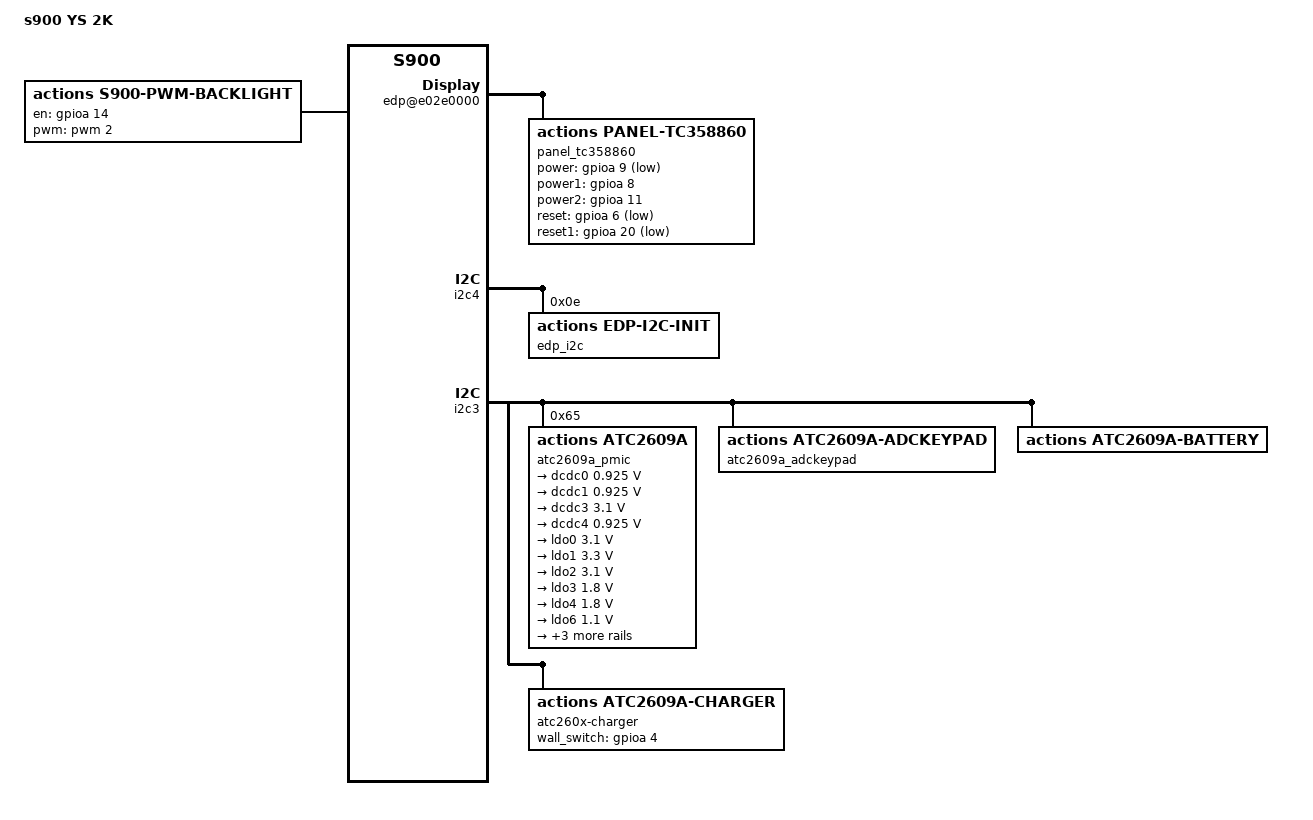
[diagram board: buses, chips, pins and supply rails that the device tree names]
/*
 * Copyright (c) 2015 Actions Semi Co., Ltd.
 *
 * SPDX-License-Identifier:	GPL-2.0+
 */

/dts-v1/;

#include "s900.dtsi"

/ {
	model = "s900 YS 2K";
	compatible = "actions,s900vr_ys_2k", "actions,s900";

	chosen {
		stdout-path = &serial5;
	};

	clock:e0160000 {
		compatible = "actions,owl-clk";
		core_pll = <1104>;
		dev_pll = <660>;
		display_pll = <1056>;
		//ddr_pll_spread_spectrum =<1>; /* 0 : disable ; else enable*/
		//nand_pll_spread_spectrum =<1>;  /* 0 : disable ; else enable*/
		//dp_pll_spread_spectrum =<1>; /* 0 : disable ; else enable*/
	};

	pwm: pwm@e01b0000 {
		pwm2 {
			id = <2>;
			mfp = <0>;
		};
	};

	de@e02e0000 {
		gamma_adjust_needed = <0>;
	};

	edp@e02e0000 {
		panel_configs = <&config0>;

		/*
		 * edp_configs, used to configure edp controller,
		 * its values should set according to edp panel's spec.
		 * Currently, the configration is for lg-lp097qx1 panel.
		 */
		config0: edp_configs {
			link_rate = <1>;	/* 0, 1.62G; 1, 2.7G; 2, 5.4G */

			lane_count = <4>;
			lane_polarity = <0x00>;	/* bit 0~3 map for data lanes' polarity,
						   bit 4 map for aux lanes' polarity,
						   0 normal, 1 reversed */
			lane_mirror = <0>;	/* lane mirror, 0 lane0~3, 1 lane3~0 */

			mstream_polarity = <0x3>;/* bit map for mstream's polarity,
						   bit1: vsync, bit0 hsync */
			user_sync_polarity = <0xc>;/* bit map for user sync's polarity,
						    * bit3: sync signal polarity,
						    * bit2: enable signal polarity,
						    * bit1: vsync polarity,
						    * bit0: hsync polarity
						    */

			pclk_parent = <1>;	/* 0, ASSIST_PLL, 1, DISPLAY PLL */
			pclk_rate = <264000000>;/* 250MHz, ASSIST_PLL, divider 2 */
		};

		/* sharp-tc358860 edp2dsi panel */
		panel_tc358860: edp_panel {
			compatible = "actions,panel-tc358860";

			/* panel's fixed info */
			width_mm = <68>;
			height_mm = <121>;
			bpp = <24>;

			is_primary = <1>;
			hotplugable = <0>;
			hotplug_always_on = <0>;

			/* operation delay in ms */
			power_on_delay = <10>;
			power_off_delay = <0>;
			enable_delay = <10>;
			disable_delay = <0>;

			/*
			 * property val of the display effects of panel,
			 * range is 0 ~ 100
			 */
			gamma_r_val = <100>;
			gamma_g_val = <100>;
			gamma_b_val = <90>;

			power-gpio = <&gpioa 9 1>; /* tc358860 power, active low */
			power1-gpio = <&gpioa 8 0>; /* panel vddio, active high */
			power2-gpio = <&gpioa 11 0>; /* panel vsp, active high*/

			reset-gpio = <&gpioa 6 1>; /* tc358860 reset, active low */
			reset1-gpio = <&gpioa 20 1>; /* panel reset, active low */

			videomode-0 = <&mode0>;
			/* 1440x2560p60 */
			mode0: videomode {
				refresh_rate = <60>;

				xres = <1440>;
				yres = <2560>;

				/*
				 * pclk_rate = 200MHz, ASSIS_PLL, divider 2.5
				 * pixel_clock = picoseconds / pclk_rate
				 */
				pixel_clock = <5000>;

				hsw = <40>;
				hbp = <170>;
				hfp = <80>;

				vsw = <2>;
				vbp = <6>;
				vfp = <8>;

				/* 0: FB_VMODE_NONINTERLACED, 1:FB_VMODE_INTERLACED */
				vmode = <0>;
			};
		};
	};

	i2c4: i2c@e0178000 {
		edp_i2c {
			compatible = "actions,edp-i2c-init";
			reg = <0x0e>;
			u-boot,i2c-offset-len = <2>;
		};
	};

	i2c3: i2c@e0176000 {
		atc2609a_pmic {
			compatible = "actions,atc2609a";
			reg = <0x65>;

			atc2609a_rtc {
					compatible = "actions,atc2609a-rtc";
			};

			atc2609a_pstore {
					compatible = "actions,atc2609a-pstore";
			};

			atc2609a_misc {
					compatible = "actions,atc2609a-misc";
			};

			atc2609a_auxadc {
					compatible = "actions,atc2609a-auxadc";
			};

			voltage-regulators {

			/* DCDC0       VDD_CORE
			 * DCDC1       VDD_CPU
			 * DCDC2       VDDR
			 * DCDC3       VCC
			 * DCDC4       VDD_CPUM
			 */
			dcdc0: dcdc0 {
				regulator-name = "dcdc0";
				regulator-min-microvolt = <925000>;
				regulator-max-microvolt = <925000>;
				regulator-always-on;
			};

			dcdc1: dcdc1 {
				regulator-name = "dcdc1";
				regulator-min-microvolt = <925000>;
				regulator-max-microvolt = <925000>;
				regulator-always-on;
			};

			dcdc3: dcdc3 {
				regulator-name = "dcdc3";
				regulator-min-microvolt = <3100000>;
				regulator-max-microvolt = <3100000>;
				regulator-always-on;
			};

			dcdc4: dcdc4 {
				regulator-name = "dcdc4";
				regulator-min-microvolt = <925000>;
				regulator-max-microvolt = <925000>;
				regulator-always-on;
			};

			/* LDO0        SD_VCC
			 * LDO1        WIFI_3V3
			 * LDO2        AVCC
			 * LDO3        ATC2609_VDD
			 * LDO4        AVCC_1V8
			 * LDO6        AVDD_1V0
			 * LDO7        VCC_1V8_IO
			 * LDO8        UNUSED
			 * LDO9        RTC_VDD     */

			ldo0: ldo0{
				regulator-name = "ldo0";
				regulator-min-microvolt  = <3100000>;
				regulator-max-microvolt = <3100000>;
				regulator-always-on;
			};

			ldo1: ldo1{
				regulator-name = "ldo1";
				regulator-min-microvolt  = <3300000>;
				regulator-max-microvolt = <3300000>;
			};

			ldo2: ldo2{
				regulator-name = "ldo2";
				regulator-min-microvolt  = <3100000>;
				regulator-max-microvolt = <3100000>;
				regulator-always-on;
			};

			ldo3: ldo3{
				regulator-name = "ldo3";
				regulator-min-microvolt  = <1800000>;
				regulator-max-microvolt = <1800000>;
				regulator-always-on;
			};

			ldo4: ldo4{
				regulator-name = "ldo4";
				regulator-min-microvolt  = <1800000>;
				regulator-max-microvolt = <1800000>;
				regulator-always-on;
			};


			ldo6: ldo6{
				regulator-name = "ldo6";
				regulator-min-microvolt  = <1100000>;
				regulator-max-microvolt = <1100000>;
				regulator-always-on;
			};

			ldo7: ldo7{
				regulator-name = "ldo7";
				regulator-min-microvolt  = <1800000>;
				regulator-max-microvolt = <1800000>;
			};

			ldo8: ldo8{
				regulator-name = "ldo8";
				regulator-min-microvolt  = <3100000>;
				regulator-max-microvolt = <3100000>;
			};

			ldo9: ldo9{
				regulator-name = "ldo9";
				regulator-min-microvolt  = <2600000>;
				regulator-max-microvolt = <3300000>;
			};
			};
		};
		atc2609a_adckeypad {
			#define KEY_VOLUMEDOWN	114
			#define KEY_VOLUMEUP	115
			#define KEY_BACK		158
			compatible = "actions,atc2609a-adckeypad";
			keymapsize = <3>;
			adc_channel_name = "REMCON";
			key_val = <KEY_VOLUMEUP KEY_VOLUMEDOWN KEY_BACK>;
			left_adc_val =  <0 1250 750>;
			right_adc_val = <100 1450 850>;
		};

		atc2609a-battery{
			compatible = "actions,atc2609a-battery";
			capacity = <2800>;/*unit:mAh*/
			shutdown_current = <50>;/*unit:ua*/
		};
		atc260x-charger{
			compatible = "actions,atc2609a-charger";
			rsense = <20>;/*unit:mohm*/
			support_adaptor_type = <2>; /*1: DCIN  2: USB  3:DCIN+USB*/
			usb_pc_ctl_mode = <1>; /*0:disable vbus ctl;1:current limited;2:voltage limited*/
			wall_switch = <&gpioa 4 0>;/*GPIOA4,0: high, 1: low*/
		};
	};

	backlight {
		compatible = "actions,s900-pwm-backlight";

		/* GPIOA14, active high */
		en-gpios = <&gpioa 14 0>;

		/*1.pwm num; 2. period in ns; */
		/*3.plarity, 0: high active, 1: low active*/
		pwms = <&pwm 2 50000 0>;

		total_steps = <1024>;
		min_brightness = <100>;
		max_brightness = <1000>;
		dft_brightness = <500>;

		delay_bf_pwm = <0>; /*in ms*/
		delay_af_pwm = <5>; /*in ms*/
	};

	xhci@e0400000 {
		actions,vbus-gpio = <&gpiod 1 0>;  /* GPIOD1,  0:  high active ; 1: low active */
	};

	adfu {
		compatible = "actions,usb-adfu";
		detect_times = <100>;
		detect_interval = <5>;	/* total time =  detect_times * detect_interval(ms) */
		vbus_type = <2>;	/* 1: IC detect, 2: PMU detect */
	};
};
